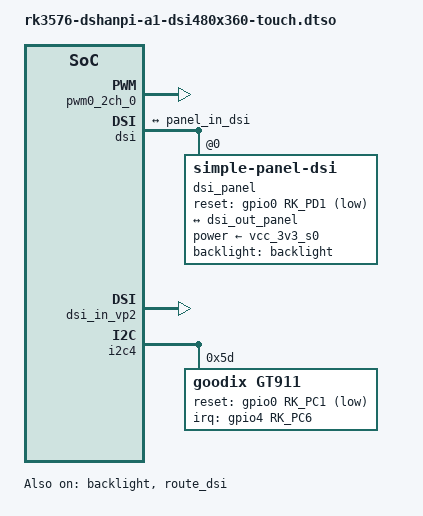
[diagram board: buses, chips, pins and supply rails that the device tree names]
/dts-v1/;
/plugin/;

#include <dt-bindings/gpio/gpio.h>
#include <dt-bindings/interrupt-controller/irq.h>
#include <dt-bindings/pinctrl/rockchip.h>
#include <dt-bindings/display/drm_mipi_dsi.h>

/ {
	fragment@0 {
		target = <&backlight>;
		__overlay__ {
			status = "okay";
		};
	};

	fragment@1 {
		target = <&pwm0_2ch_0>;
		__overlay__ {
			status = "okay";
		};
	};

	fragment@2 {
		target = <&dsi>;
		__overlay__ {
			#address-cells = <1>;
			#size-cells = <0>;
			status = "okay";

			dsi_panel: panel@0 {
				status = "okay";
				compatible = "simple-panel-dsi";
				power-supply = <&vcc_3v3_s0>;
				reg = <0>;
				backlight = <&backlight>;

				bpc = <8>;

				prepare-delay-ms = <10>;
				reset-delay-ms = <40>;
				init-delay-ms = <40>;
				enable-delay-ms = <40>;
				disable-delay-ms = <50>;
				unprepare-delay-ms = <40>;

				reset-gpios = <&gpio0 RK_PD1 GPIO_ACTIVE_LOW>;
				pinctrl-names = "default";

				width-mm = <41>;
				height-mm = <31>;

				dsi,flags = <(MIPI_DSI_MODE_VIDEO | MIPI_DSI_MODE_VIDEO_BURST |
					      MIPI_DSI_MODE_LPM | MIPI_DSI_MODE_NO_EOT_PACKET)>;

				dsi,format = <MIPI_DSI_FMT_RGB888>;
				dsi,lanes = <2>;

				panel-init-sequence = [
					39 00 06 FF 77 01 00 00 13
					15 00 02 EF 08
					39 00 06 FF 77 01 00 00 10
					39 00 03 C0 2C 00
					39 00 03 C1 10 0C
					39 00 03 C2 21 0A
					15 00 02 CC 10
					39 00 11 B0 00 12 9A 0E 12 07 0B 08 09 26 05 51 0F 69 30 1C
					39 00 11 B1 00 12 9B 0D 10 06 0B 09 08 25 03 50 0F 68 30 1C
					39 00 06 FF 77 01 00 00 11
					15 00 02 B0 5D
					15 00 02 B1 66
					15 00 02 B2 84
					15 00 02 B3 80
					15 00 02 B5 4E
					15 00 02 B7 85
					15 00 02 B8 20
					15 00 02 C1 78
					15 00 02 C2 78
					15 00 02 D0 88
					39 00 04 E0 00 00 02
					39 00 0C E1 06 A0 08 A0 05 A0 07 A0 00 44 44
					39 00 0D E2 00 00 44 44 01 A0 00 00 01 A0 00 00
					39 00 05 E3 00 00 11 11
					39 00 03 E4 44 44
					39 00 11 E5 0D 79 0A A0 0F 7B 0A A0 09 75 0A A0 0B 77 0A A0
					39 00 05 E6 00 00 11 11
					39 00 03 E7 44 44
					39 00 11 E8 0C 78 0A A0 0E 7A 0A A0 08 74 0A A0 0A 76 0A A0
					39 00 03 E9 36 00
					39 00 08 EB 00 01 E4 E4 44 88 40
					39 00 11 ED FF 45 67 FA 01 2B AB FF FF BA B2 10 AF 76 54 FF
					39 00 07 EF 10 0D 04 08 3F 1F
					39 00 06 FF 77 01 00 00 00
					39 00 06 FF 77 01 00 00 13
					39 00 03 E8 00 0E
					05 78 01 11
					39 0A 03 E8 00 0C
					39 00 03 E8 00 00
					39 00 06 FF 77 01 00 00 00
					05 14 01 29
				];

				panel-exit-sequence = [
					05 00 01 28
					05 78 01 10
				];

				display-timings {
					native-mode = <&timing0>;

					timing0: timing0 {
						clock-frequency = <12144000>;
						hactive = <480>;
						vactive = <360>;
						hfront-porch = <10>;
						hsync-len = <5>;
						hback-porch = <20>;
						vfront-porch = <12>;
						vsync-len = <5>;
						vback-porch = <16>;
						hsync-active = <0>;
						vsync-active = <0>;
						de-active = <0>;
						pixelclk-active = <0>;
					};
				};

				ports {
					#address-cells = <1>;
					#size-cells = <0>;

					port@0 {
						reg = <0>;
						panel_in_dsi: endpoint {
							remote-endpoint = <&dsi_out_panel>;
						};
					};
				};
			};

			ports {
				#address-cells = <1>;
				#size-cells = <0>;

				port@1 {
					reg = <1>;
					dsi_out_panel: endpoint {
						remote-endpoint = <&panel_in_dsi>;
					};
				};
			};
		};
	};

	fragment@3 {
		target = <&route_dsi>;
		__overlay__ {
			status = "okay";
		};
	};

	fragment@4 {
		target = <&dsi_in_vp2>;
		__overlay__ {
			status = "okay";
		};
	};

	fragment@5 {
		target = <&i2c4>;
		__overlay__ {
			#address-cells = <1>;
			#size-cells = <0>;

			gt911: gt911@5d {
				compatible = "goodix,gt911";
				reg = <0x5d>;
				interrupt-parent = <&gpio4>;
				interrupts = <RK_PC6 IRQ_TYPE_EDGE_FALLING>;
				reset-gpios = <&gpio0 RK_PC1 GPIO_ACTIVE_LOW>;
				pinctrl-names = "default";
				status = "okay";
			};
		};
	};
};
